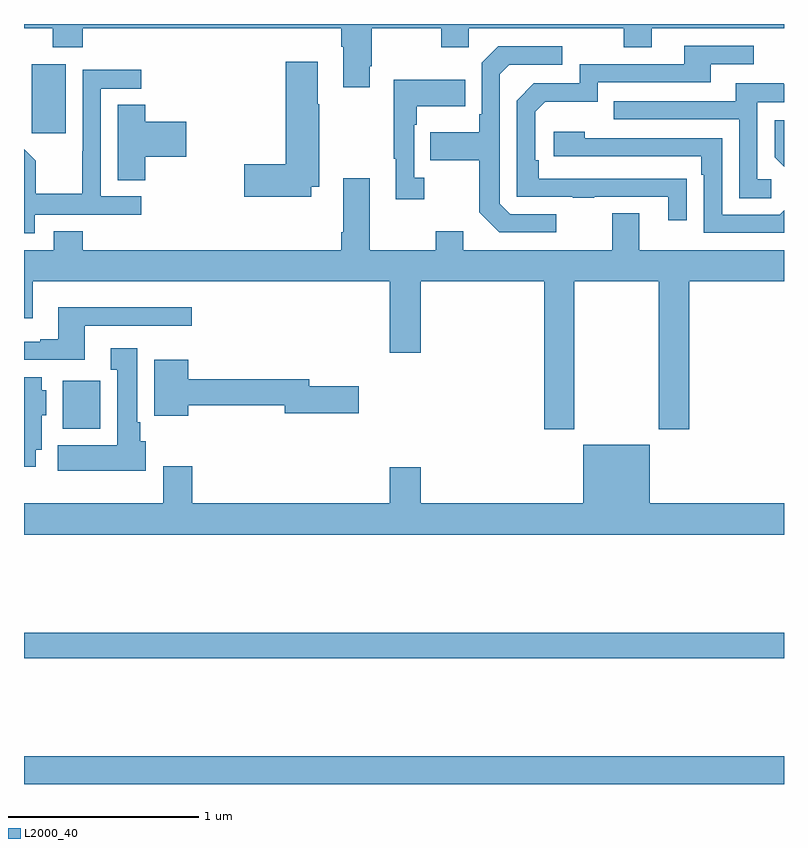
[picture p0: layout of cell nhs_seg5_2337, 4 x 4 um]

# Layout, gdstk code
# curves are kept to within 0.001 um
import gdstk
lib = gdstk.Library(unit=1e-6, precision=1e-09)
def R(c, l, rs):  # rectangles x0, y0, x1, y1
    for r in rs: c.add(gdstk.rectangle(r[:2], r[2:], *l))
def P(c, l, *ps):  # polygons
    for p in ps: c.add(gdstk.Polygon(p, *l))
L2000_40 = (2000, 40)

nhs_seg5_2337 = lib.new_cell('nhs_seg5_2337')
R(nhs_seg5_2337, L2000_40, [(247,836.799,251,836.944), (247,837.46,251,837.596), (247.205,838.67,247.401,838.921), (247.04,840.225,247.219,840.586)])
P(nhs_seg5_2337, L2000_40, [(248.821,840.577),(248.829,840.577),(248.829,840.776),(249.196,840.776),(249.196,840.677),(249.342,840.677),(249.342,840.776),(250.156,840.776),(250.156,840.677),(250.303,840.677),(250.303,840.776),(251,840.776),(251,840.799),(247,840.799),(247,840.776),(247.15,840.776),(247.15,840.677),(247.31,840.677),(247.31,840.776),(248.669,840.776),(248.669,840.68),(248.681,840.68),(248.681,840.465),(248.821,840.465)],
  [(250.487,839.984),(249.71,839.985),(249.71,840.082),(249.69,840.082),(249.69,840.336),(249.743,840.389),(250.02,840.389),(250.02,840.492),(250.615,840.492),(250.615,840.588),(250.84,840.588),(250.84,840.684),(250.475,840.684),(250.475,840.588),(249.924,840.588),(249.924,840.486),(249.684,840.486),(249.594,840.396),(249.594,839.889),(249.889,839.889),(249.889,839.884),(250.001,839.884),(250.001,839.889),(250.391,839.889),(250.391,839.766),(250.487,839.766)],
  [(249.802,839.799),(249.558,839.799),(249.504,839.853),(249.504,840.534),(249.555,840.585),(249.832,840.585),(249.832,840.681),(249.495,840.681),(249.408,840.594),(249.408,840.325),(249.396,840.325),(249.396,840.229),(249.139,840.229),(249.139,840.082),(249.396,840.082),(249.396,839.809),(249.501,839.703),(249.802,839.703)],
  [(248.512,839.942),(248.553,839.942),(248.553,840.377),(248.545,840.377),(248.545,840.601),(248.378,840.601),(248.378,840.062),(248.16,840.062),(248.16,839.891),(248.512,839.891)],
  [(247.056,839.796),(247.618,839.796),(247.618,839.892),(247.404,839.892),(247.404,840.459),(247.618,840.459),(247.618,840.558),(247.308,840.558),(247.308,840.128),(247.306,840.128),(247.306,839.905),(247.061,839.905),(247.061,840.079),(247,840.14),(247,839.699),(247.056,839.699)],
  [(249.106,839.99),(249.054,839.99),(249.054,840.269),(249.067,840.269),(249.067,840.365),(249.323,840.365),(249.323,840.505),(248.946,840.505),(248.946,840.089),(248.957,840.089),(248.957,839.877),(249.106,839.877)],
  [(250.933,839.982),(250.86,839.982),(250.86,840.387),(251,840.387),(251,840.483),(250.999,840.483),(250.999,840.487),(250.745,840.487),(250.745,840.393),(250.105,840.393),(250.105,840.297),(250.764,840.297),(250.764,839.881),(250.933,839.881)],
  [(247.637,840.101),(247.855,840.101),(247.855,840.284),(247.637,840.284),(247.637,840.374),(247.493,840.374),(247.493,839.977),(247.637,839.977)],
  [(251,840.292),(250.95,840.292),(250.95,840.098),(251,840.048)],
  [(251,839.819),(250.977,839.796),(250.674,839.796),(250.674,840.198),(249.95,840.198),(249.95,840.232),(249.789,840.232),(249.789,840.102),(250.565,840.102),(250.565,840.005),(250.578,840.005),(250.578,839.7),(251,839.7)],
  [(249.897,839.444),(250.342,839.444),(250.342,838.665),(250.502,838.665),(250.502,839.444),(251,839.444),(251,839.608),(250.237,839.608),(250.237,839.803),(250.097,839.803),(250.097,839.608),(249.313,839.608),(249.313,839.707),(249.166,839.707),(249.166,839.608),(248.821,839.608),(248.821,839.986),(248.681,839.986),(248.681,839.704),(248.669,839.704),(248.669,839.608),(247.31,839.608),(247.31,839.707),(247.157,839.707),(247.157,839.608),(247,839.608),(247,839.25),(247.045,839.25),(247.045,839.444),(248.924,839.444),(248.924,839.07),(249.088,839.07),(249.088,839.444),(249.737,839.444),(249.737,838.665),(249.897,838.665)],
  [(247.321,839.211),(247.882,839.211),(247.882,839.308),(247.181,839.308),(247.181,839.14),(247.085,839.14),(247.085,839.127),(247,839.127),(247,839.031),(247.321,839.031)],
  [(247.642,838.602),(247.612,838.602),(247.612,838.702),(247.597,838.702),(247.597,839.092),(247.457,839.092),(247.457,838.979),(247.49,838.979),(247.49,838.582),(247.178,838.582),(247.178,838.448),(247.642,838.448)],
  [(247.864,838.792),(248.372,838.792),(248.372,838.75),(248.761,838.75),(248.761,838.892),(248.5,838.892),(248.5,838.928),(247.864,838.928),(247.864,839.032),(247.685,839.032),(247.685,838.736),(247.864,838.736)],
  [(247.063,838.559),(247.093,838.559),(247.093,838.74),(247.117,838.74),(247.117,838.872),(247.093,838.872),(247.093,838.939),(247,838.939),(247,838.47),(247.063,838.47)],
  [(251,838.276),(250.294,838.276),(250.294,838.585),(249.944,838.585),(249.944,838.276),(249.088,838.276),(249.088,838.465),(248.924,838.465),(248.924,838.276),(247.886,838.276),(247.886,838.471),(247.733,838.471),(247.733,838.276),(247,838.276),(247,838.112),(251,838.112)])

lib.write_gds('nhs_seg5_2337.gds')
